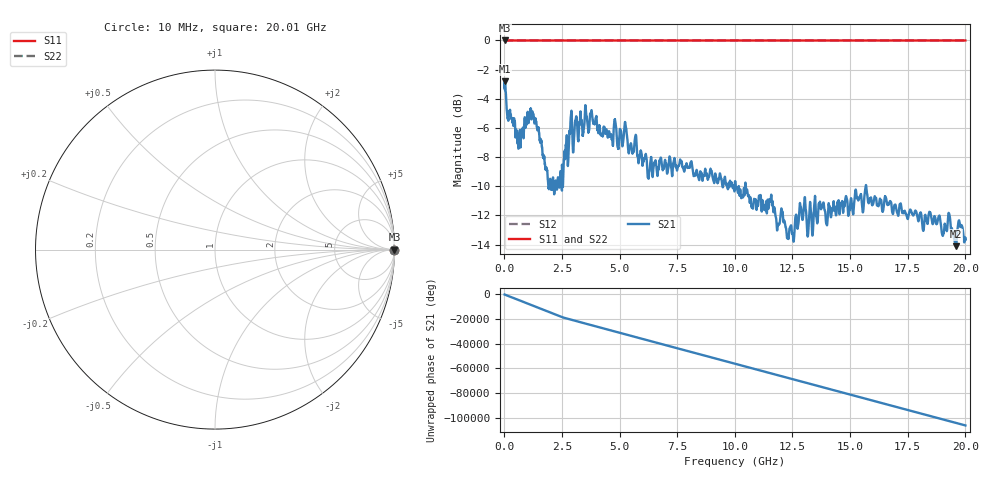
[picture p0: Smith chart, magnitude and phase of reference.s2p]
! 8/15/2025 2:06:53 PM
! C:\ANRITSUVNA\REFERENCE.S2P
! CHANNEL.1
! TR.MEASUREMENT
! RAW.DATA
! RF.CORRECTION.OFF
! AVERAGING.OFF
! IF.BANDWIDTH: 5KHZ
! SWEEPTYPE:  FREQ.SWEEP(Linear)
! Reference Plane Port Info
! PORT:  PORT1  PORT2
! DISTANCE:  0  m  0  m
! TIME:  0  s  0  s
! PHASE.OFFSET:  0  deg.  0  deg.
! LOSS:  0  dB  0  dB
! REF.LOSS:  0  dB  0  dB
! REF.FREQ:  0  Hz  0  Hz
! Power Info
! POWER:  0  dBm  -20  dBm
! EFF.POWER:  0  dBm  -20  dBm
! SOURCE.ATTEN:  0  dB  0  dB
! TEST.ATTEN:  0  dB  0  dB
# GHZ S RI R 50.0
! FREQ.GHZ  S11RE  S11IM  S21RE  S21IM  S12RE  S12IM  S22RE  S22IM
!; PortSelection: Port_12
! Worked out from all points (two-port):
!   20001 points, 10 MHz to 20.01 GHz, reference 50 ohm
!   highest |S21| = -2.79 dB at 10 MHz (marker M1); lowest = -14.1 dB at 19.61 GHz (marker M2)
!   |S21| within 3 dB of the highest: start of sweep to 388.5 MHz; 957.1 MHz to 1.397 GHz (440 MHz wide, 37.4 % of centre) (the widest 2 of 12)
!   lowest |S11| = 0.0 dB at 10 MHz (marker M3)
!   |S11| at or under -10 dB: nowhere
!   |S22| runs from 0.0 to 0.0 dB; largest |S21 - S12| = 1.7
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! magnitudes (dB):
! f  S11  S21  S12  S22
! 10 MHz  0.0  -2.8  0.0  0.0
! 617 MHz  0.0  -7.3  0.0  0.0
! 1.294 GHz  0.0  -5.4  0.0  0.0
! 1.981 GHz  0.0  -9.5  0.0  0.0
! 2.456 GHz  0.0  -9.1  0.0  0.0
! 2.871 GHz  0.0  -5.5  0.0  0.0
! 3.344 GHz  0.0  -5.7  0.0  0.0
! 5.255 GHz  0.0  -5.7  0.0  0.0
! 6.25 GHz  0.0  -9.5  0.0  0.0
! 6.677 GHz  0.0  -8.7  0.0  0.0
! 10.01 GHz  0.0  -9.7  0.0  0.0
! 11.57 GHz  0.0  -10.8  0.0  0.0
! 12.29 GHz  0.0  -13.4  0.0  0.0
! 12.96 GHz  0.0  -12.1  0.0  0.0
! 13.34 GHz  0.0  -12.8  0.0  0.0
! 15.7 GHz  0.0  -10.0  0.0  0.0
! 16.68 GHz  0.0  -11.2  0.0  0.0
! 19.06 GHz  0.0  -13.2  0.0  0.0
! 19.33 GHz  0.0  -12.0  0.0  0.0
! 19.61 GHz  0.0  -14.1  0.0  0.0
! 19.78 GHz  0.0  -12.8  0.0  0.0
! 20.01 GHz  0.0  -13.7  0.0  0.0
